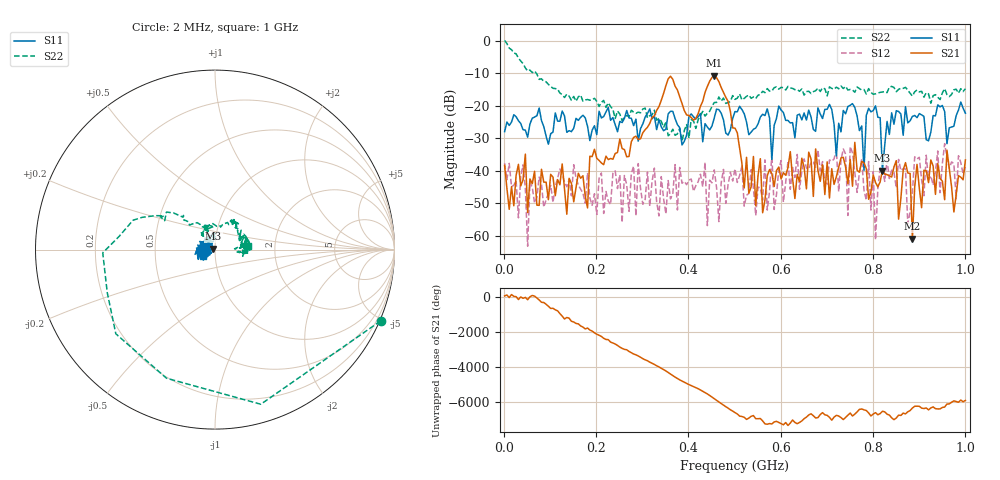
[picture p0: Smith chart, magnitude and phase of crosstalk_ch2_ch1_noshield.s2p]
!Keysight Technologies N9923A: A.12.45
!Date: Friday, 10 October 2025 01:58:47
!Timezone: (UTC+08:00) Kuala Lumpur, Singapore
!Model: N9923A
!Serial: MY61181427
!GPS Latitude:
!GPS Longitude:
!GPS TimeStamp: 0001-01-01 00:00:00Z
!GPS Seconds Since Last Read: 0
!CHECKSUM:1269344249
!Correction: S11(ON U?)S21(ON U?)S12(ON U?)S22(ON U?)
!S2P File: Measurements:S11,S21,S12,S22:
# Hz S DB R 50
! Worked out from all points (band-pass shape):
!   201 points, 2 MHz to 1 GHz, reference 50 ohm
!   highest |S21| = -10.80 dB at 456.1 MHz (marker M1); lowest = -60.9 dB at 885.2 MHz (marker M2)
!   |S21| within 3 dB of the highest: 351.4 MHz to 370.8 MHz (19.39 MHz wide, 5.37 % of centre); 442 MHz to 469.4 MHz (27.38 MHz wide, 6.01 % of centre)
!   lowest |S11| = -39.9 dB at 820.4 MHz (marker M3), VSWR 1.02, Z = 49.1 + j0.443 ohm
!   |S11| at or under -10 dB: start of sweep to end of sweep
!   |S22| runs from -30.9 to 0.0 dB; largest |S21 - S12| = 0.29
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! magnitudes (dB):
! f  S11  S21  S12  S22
! 2 MHz  -28.0  -38.3  -37.7  0.0
! 41.92 MHz  -27.4  -42.7  -38.1  -7.1
! 51.9 MHz  -29.7  -52.8  -63.1  -9.4
! 56.89 MHz  -25.6  -42.5  -43.5  -9.1
! 171.7 MHz  -22.9  -41.5  -46.9  -18.6
! 336.3 MHz  -24.3  -20.3  -53.8  -23.9
! 456.1 MHz  -23.7  -10.8  -39.7  -19.0
! 501 MHz  -21.8  -26.9  -39.3  -18.1
! 560.9 MHz  -22.6  -52.9  -49.0  -15.6
! 670.7 MHz  -27.3  -47.8  -37.4  -15.7
! 735.5 MHz  -21.5  -35.8  -33.3  -14.7
! 745.5 MHz  -20.3  -44.0  -53.7  -15.2
! 755.5 MHz  -19.4  -44.7  -34.4  -15.1
! 780.4 MHz  -39.9  -37.6  -46.0  -15.0
! 790.4 MHz  -20.8  -48.7  -37.1  -14.7
! 805.4 MHz  -20.0  -43.6  -61.1  -16.3
! 820.4 MHz  -39.9  -39.8  -39.5  -15.8
! 835.3 MHz  -28.8  -41.5  -42.4  -14.2
! 880.2 MHz  -24.6  -40.8  -52.6  -16.2
! 885.2 MHz  -23.3  -60.9  -46.6  -17.0
! 895.2 MHz  -23.7  -38.0  -36.3  -15.2
! 1 GHz  -22.3  -36.6  -38.8  -14.8
